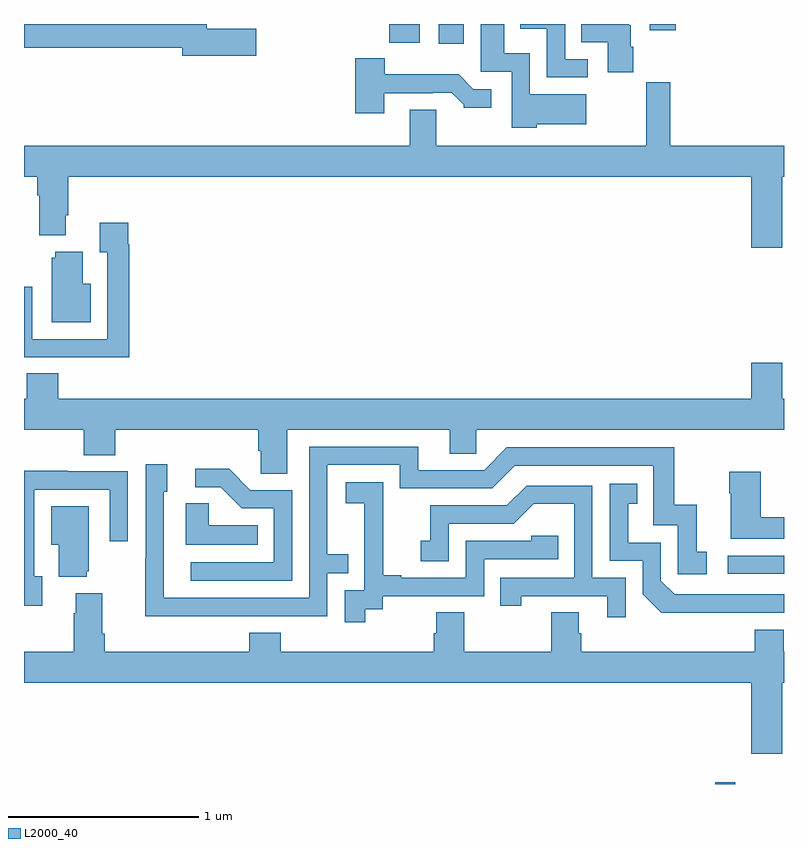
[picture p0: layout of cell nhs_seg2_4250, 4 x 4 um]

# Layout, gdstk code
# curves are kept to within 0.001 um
import gdstk
lib = gdstk.Library(unit=1e-6, precision=1e-09)
def R(c, l, rs):  # rectangles x0, y0, x1, y1
    for r in rs: c.add(gdstk.rectangle(r[:2], r[2:], *l))
def P(c, l, *ps):  # polygons
    for p in ps: c.add(gdstk.Polygon(p, *l))
L2000_40 = (2000, 40)

nhs_seg2_4250 = lib.new_cell('nhs_seg2_4250')
R(nhs_seg2_4250, L2000_40, [(344.639,617.8,344.743,617.81), (344.703,618.906,345,619.002), (343.184,621.696,343.315,621.8), (342.922,621.701,343.084,621.8), (344.294,621.768,344.429,621.8)])
P(nhs_seg2_4250, L2000_40, [(344.207,621.68),(344.194,621.68),(344.194,621.79),(344.184,621.8),(343.933,621.8),(343.933,621.704),(344.072,621.704),(344.072,621.546),(344.207,621.546)],
  [(343.698,621.272),(343.96,621.272),(343.96,621.43),(343.662,621.43),(343.662,621.646),(343.528,621.646),(343.528,621.8),(343.403,621.8),(343.403,621.549),(343.566,621.549),(343.566,621.254),(343.698,621.254)],
  [(343.966,621.615),(343.848,621.615),(343.848,621.8),(343.613,621.8),(343.613,621.776),(343.752,621.776),(343.752,621.519),(343.966,621.519)],
  [(342.223,621.776),(341.962,621.776),(341.962,621.8),(341,621.8),(341,621.676),(341.834,621.676),(341.834,621.634),(342.223,621.634)],
  [(342.895,621.435),(343.151,621.435),(343.151,621.438),(343.25,621.438),(343.314,621.374),(343.314,621.359),(343.459,621.359),(343.459,621.456),(343.365,621.456),(343.287,621.535),(342.898,621.535),(342.898,621.619),(342.743,621.619),(342.743,621.33),(342.895,621.33)],
  [(344.992,620.996),(345,620.996),(345,621.16),(344.402,621.16),(344.402,621.493),(344.274,621.493),(344.274,621.16),(343.171,621.16),(343.171,621.35),(343.031,621.35),(343.031,621.16),(341,621.16),(341,620.996),(341.069,620.996),(341.069,620.9),(341.081,620.9),(341.081,620.687),(341.221,620.687),(341.221,620.794),(341.234,620.794),(341.234,620.996),(344.828,620.996),(344.828,620.622),(344.992,620.622)],
  [(341.555,620.642),(341.548,620.642),(341.548,620.755),(341.399,620.755),(341.399,620.599),(341.439,620.599),(341.439,620.142),(341.043,620.142),(341.043,620.416),(341,620.416),(341,620.046),(341.263,620.046),(341.263,620.045),(341.555,620.045)],
  [(341.35,620.434),(341.308,620.434),(341.308,620.602),(341.165,620.602),(341.165,620.571),(341.147,620.571),(341.147,620.231),(341.35,620.231)],
  [(342.385,619.664),(343.241,619.664),(343.241,619.537),(343.38,619.537),(343.38,619.664),(345,619.664),(345,619.828),(344.992,619.828),(344.992,620.017),(344.828,620.017),(344.828,619.828),(341.18,619.828),(341.18,619.961),(341.015,619.961),(341.015,619.828),(341,619.828),(341,619.664),(341.315,619.664),(341.315,619.531),(341.48,619.531),(341.48,619.664),(342.233,619.664),(342.233,619.555),(342.246,619.555),(342.246,619.432),(342.385,619.432)],
  [(342.101,618.684),(342.597,618.684),(342.597,618.909),(342.707,618.909),(342.707,619.01),(342.597,619.01),(342.597,619.479),(342.978,619.479),(342.978,619.356),(343.464,619.356),(343.584,619.476),(344.313,619.476),(344.313,619.161),(344.442,619.161),(344.442,618.903),(344.593,618.903),(344.593,619.023),(344.54,619.023),(344.54,619.27),(344.422,619.27),(344.422,619.572),(343.542,619.572),(343.422,619.452),(343.075,619.452),(343.075,619.575),(342.501,619.575),(342.501,618.78),(341.736,618.78),(341.736,619.338),(341.755,619.338),(341.755,619.483),(341.64,619.483),(341.64,618.989),(341.638,618.989),(341.638,618.683)],
  [(342.411,619.347),(342.192,619.347),(342.079,619.46),(341.901,619.46),(341.901,619.362),(342.035,619.362),(342.146,619.251),(342.315,619.251),(342.315,618.966),(341.877,618.966),(341.877,618.87),(342.411,618.87)],
  [(341.095,618.894),(341.055,618.894),(341.055,619.35),(341.451,619.35),(341.451,619.077),(341.547,619.077),(341.547,619.446),(341.231,619.446),(341.231,619.448),(341,619.448),(341,618.738),(341.095,618.738)],
  [(345,619.205),(344.878,619.205),(344.878,619.444),(344.713,619.444),(344.713,619.331),(344.72,619.331),(344.72,619.091),(345,619.091)],
  [(342.796,618.721),(342.888,618.721),(342.888,618.789),(343.422,618.789),(343.422,618.984),(343.811,618.984),(343.811,619.107),(343.671,619.107),(343.671,619.08),(343.326,619.08),(343.326,618.885),(342.985,618.885),(342.985,618.898),(342.89,618.898),(342.89,619.181),(342.891,619.181),(342.891,619.387),(342.693,619.387),(342.693,619.277),(342.791,619.277),(342.791,619.049),(342.792,619.049),(342.792,618.819),(342.687,618.819),(342.687,618.651),(342.796,618.651)],
  [(344.762,618.702),(345,618.702),(345,618.798),(344.424,618.798),(344.352,618.87),(344.352,619.071),(344.179,619.071),(344.179,619.275),(344.228,619.275),(344.228,619.381),(344.082,619.381),(344.082,618.975),(344.256,618.975),(344.256,618.798),(344.354,618.701)],
  [(344.166,618.885),(343.992,618.885),(343.992,619.371),(343.646,619.371),(343.541,619.266),(343.138,619.266),(343.138,619.081),(343.089,619.081),(343.089,618.972),(343.236,618.972),(343.236,619.17),(343.578,619.17),(343.682,619.274),(343.896,619.274),(343.896,618.885),(343.507,618.885),(343.507,618.738),(343.618,618.738),(343.618,618.789),(344.069,618.789),(344.069,618.678),(344.166,618.678)],
  [(342.23,619.162),(341.973,619.162),(341.973,619.277),(341.852,619.277),(341.852,619.058),(342.23,619.058)],
  [(341.33,618.921),(341.341,618.921),(341.341,619.261),(341.144,619.261),(341.144,619.058),(341.183,619.058),(341.183,618.89),(341.33,618.89)],
  [(344.828,617.958),(344.992,617.958),(344.992,618.332),(345,618.332),(345,618.496),(344.998,618.496),(344.998,618.613),(344.846,618.613),(344.846,618.496),(343.934,618.496),(343.934,618.594),(343.921,618.594),(343.921,618.704),(343.774,618.704),(343.774,618.496),(343.317,618.496),(343.317,618.704),(343.169,618.704),(343.169,618.594),(343.157,618.594),(343.157,618.496),(342.35,618.496),(342.35,618.595),(342.185,618.595),(342.185,618.496),(341.426,618.496),(341.426,618.592),(341.413,618.592),(341.413,618.805),(341.273,618.805),(341.273,618.698),(341.261,618.698),(341.261,618.496),(341,618.496),(341,618.332),(344.828,618.332)])

lib.write_gds('nhs_seg2_4250.gds')
